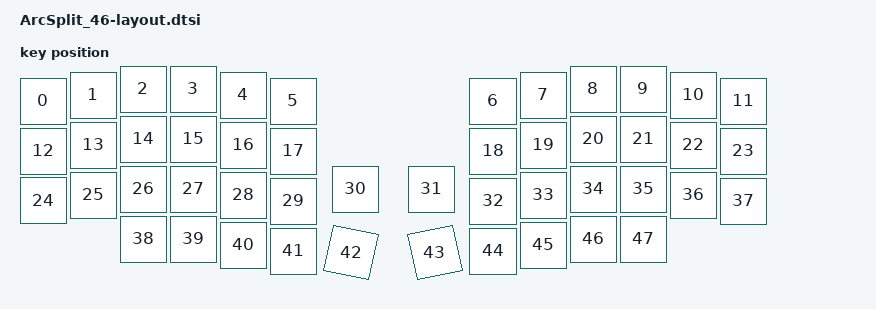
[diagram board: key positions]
#include <physical_layouts.dtsi>

/ {
    physical_layout_ArcSplit_46: physical_layout_ArcSplit_46 {
        compatible = "zmk,physical-layout";
        display-name = "ArcSplit_46";
        keys  //                     w   h    x    y     rot    rx    ry
            = <&key_physical_attrs 100 100    0   24       0     0    24>
            , <&key_physical_attrs 100 100  100   12       0   100    12>
            , <&key_physical_attrs 100 100  200    0       0   200     0>
            , <&key_physical_attrs 100 100  300    0       0   300     0>
            , <&key_physical_attrs 100 100  400   12       0   400    12>
            , <&key_physical_attrs 100 100  500   24       0   500    24>
            , <&key_physical_attrs 100 100  900   24       0   900    24>
            , <&key_physical_attrs 100 100 1000   12       0  1000    12>
            , <&key_physical_attrs 100 100 1100    0       0  1100     0>
            , <&key_physical_attrs 100 100 1200    0       0  1200     0>
            , <&key_physical_attrs 100 100 1300   12       0  1300    12>
            , <&key_physical_attrs 100 100 1400   24       0  1400    24>
            , <&key_physical_attrs 100 100    0  124       0     0   124>
            , <&key_physical_attrs 100 100  100  112       0   100   112>
            , <&key_physical_attrs 100 100  200  100       0   200   100>
            , <&key_physical_attrs 100 100  300  100       0   300   100>
            , <&key_physical_attrs 100 100  400  112       0   400   112>
            , <&key_physical_attrs 100 100  500  124       0   500   124>
            , <&key_physical_attrs 100 100  900  124       0   900   124>
            , <&key_physical_attrs 100 100 1000  112       0  1000   112>
            , <&key_physical_attrs 100 100 1100  100       0  1100   100>
            , <&key_physical_attrs 100 100 1200  100       0  1200   100>
            , <&key_physical_attrs 100 100 1300  112       0  1300   112>
            , <&key_physical_attrs 100 100 1400  124       0  1400   124>
            , <&key_physical_attrs 100 100    0  223       0     0   223>
            , <&key_physical_attrs 100 100  100  212       0   100   212>
            , <&key_physical_attrs 100 100  200  200       0   200   200>
            , <&key_physical_attrs 100 100  300  200       0   300   200>
            , <&key_physical_attrs 100 100  400  212       0   400   212>
            , <&key_physical_attrs 100 100  500  224       0   500   224>
            , <&key_physical_attrs 100 100  624  200       0   624   200>
            , <&key_physical_attrs 100 100  776  200       0   776   200>
            , <&key_physical_attrs 100 100  900  224       0   900   224>
            , <&key_physical_attrs 100 100 1000  212       0  1000   212>
            , <&key_physical_attrs 100 100 1100  200       0  1100   200>
            , <&key_physical_attrs 100 100 1200  200       0  1200   200>
            , <&key_physical_attrs 100 100 1300  212       0  1300   212>
            , <&key_physical_attrs 100 100 1400  224       0  1400   224>
            , <&key_physical_attrs 100 100  200  300       0   200   300>
            , <&key_physical_attrs 100 100  300  300       0   300   300>
            , <&key_physical_attrs 100 100  400  312       0   400   312>
            , <&key_physical_attrs 100 100  500  324       0   500   324>
            , <&key_physical_attrs 100 100  624  312    1200   600   333>
            , <&key_physical_attrs 100 100  776  312 (-1200)   900   333>
            , <&key_physical_attrs 100 100  900  324       0   900   324>
            , <&key_physical_attrs 100 100 1000  312       0  1000   312>
            , <&key_physical_attrs 100 100 1100  300       0  1100   300>
            , <&key_physical_attrs 100 100 1200  300       0  1200   300>
            ;
    };
};
